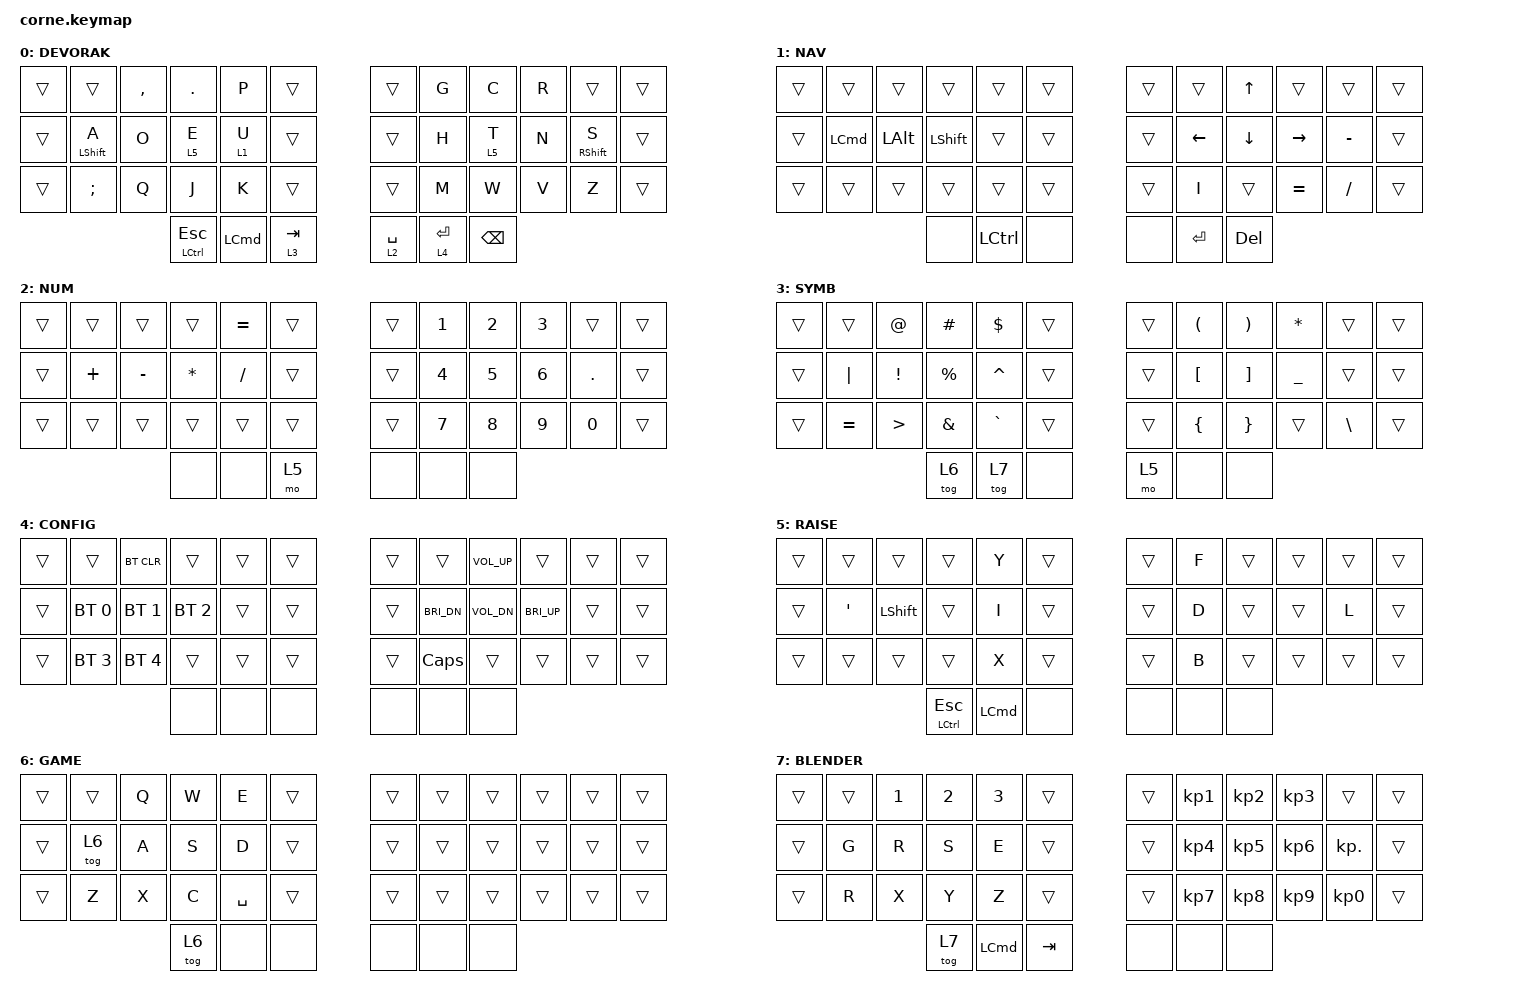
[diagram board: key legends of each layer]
/*
 * Copyright (c) 2020 The ZMK Contributors
 *
 * SPDX-License-Identifier: MIT
 */

#include <behaviors.dtsi>
#include <dt-bindings/zmk/keys.h>
#include <dt-bindings/zmk/bt.h>

/ {
    keymap {
        compatible = "zmk,keymap";

        devorak_layer {
            label = "DEVORAK";
            bindings = <
                &trans &trans &kp COMMA &kp DOT &kp P &trans &trans &kp G &kp C &kp R &trans &trans
                &trans &mt LSHFT A &kp O &lt 5 E &lt 1 U &trans &trans &kp H &lt 5 T &kp N &mt RSHFT S &trans
                &trans &kp SEMI &kp Q &kp J &kp K &trans          &trans &kp M &kp W &kp V &kp Z &trans
                &mt LCTRL ESC &kp LCMD &lt 3 TAB                  &lt 2 SPACE &lt 4 ENTER &kp BSPC
            >;
        };
        nav_layer {
            label = "NAV";
            bindings = <
                &trans &trans &trans &trans &trans &trans             &trans &trans &kp UP &trans &trans &trans
                &trans &kp LCMD &kp LALT &kp LSHFT &trans &trans       &trans &kp LEFT &kp DOWN &kp RIGHT &kp MINUS &trans
                &trans &trans &trans &trans &trans &trans             &trans &kp I &trans &kp EQUAL &kp SLASH &trans
                &none &kp LCTRL &none                                 &none &kp ENTER &kp DEL
            >;
        };
        num_layer {
            label = "NUM";
            bindings = <
                &trans &trans &trans &trans &kp EQUAL &trans           &trans &kp N1 &kp N2 &kp N3 &trans &trans
                &trans &kp PLUS &kp MINUS &kp ASTRK &kp SLASH &trans      &trans &kp N4 &kp N5 &kp N6 &kp DOT &trans
                &trans &trans &trans &trans &trans &trans             &trans &kp N7 &kp N8 &kp N9 &kp N0 &trans
                &none &none &mo 5                                      &none &none &none
            >;
        };
        symb_layer {
            label = "SYMB";
            bindings = <
                &trans &trans &kp AT &kp HASH &kp DLLR &trans         &trans &kp LPAR &kp RPAR &kp ASTRK &trans &trans
                &trans &kp PIPE &kp EXCL &kp PERCENT &kp CARET &trans   &trans &kp LBKT &kp RBKT &kp UNDER &trans &trans
                &trans &kp EQUAL &kp GT &kp AMPS &kp GRAVE &trans    &trans &kp LBRC &kp RBRC &trans &kp BSLH &trans
                &tog 6 &tog 7 &none                                      &mo 5 &none &none
            >;
        };
        config_layer {
            label = "CONFIG";
            bindings = <
                &trans &trans &bt BT_CLR &trans &trans &trans             &trans &trans &kp K_VOL_UP &trans &trans &trans
                &trans &bt BT_SEL 0 &bt BT_SEL 1 &bt BT_SEL 2 &trans      &trans &trans &kp C_BRI_DN &kp K_VOL_DN &kp C_BRI_UP &trans &trans
                &trans &bt BT_SEL 3 &bt BT_SEL 4 &trans &trans &trans     &trans &kp CAPSLOCK &trans &trans &trans &trans
                &none &none &none                                         &none &none &none
            >;
        };
        raise_layer {
            label = "RAISE";
            bindings = <
                &trans &trans &trans &trans &kp Y &trans               &trans &kp F &trans &trans &trans &trans
                &trans &kp SQT &kp LSHFT &trans &kp I &trans           &trans &kp D &trans &trans &kp L &trans
                &trans &trans &trans &trans &kp X &trans               &trans &kp B &trans &trans &trans &trans
                &mt LCTRL ESC &kp LCMD &none                           &none &none &none
            >;
        };
        game_layer {
            label = "GAME";
            bindings = <
                &trans &trans &kp Q &kp W &kp E &trans          &trans &trans &trans &trans &trans &trans
                &trans &tog 6 &kp A &kp S &kp D &trans          &trans &trans &trans &trans &trans &trans
                &trans &kp Z &kp X &kp C &kp SPACE &trans       &trans &trans &trans &trans &trans &trans
                                &tog 6 &none &none              &none &none &none
            >;
        };
        blender_layer {
            label = "BLENDER";
            bindings = <
                &trans &trans &kp N1 &kp N2 &kp N3 &trans      &trans &kp KP_N1 &kp KP_N2 &kp KP_N3 &trans &trans
                &trans &kp G &kp R &kp S &kp E &trans    &trans &kp KP_N4 &kp KP_N5 &kp KP_N6 &kp KP_DOT &trans
                &trans &kp R &kp X &kp Y &kp Z &trans          &trans &kp KP_N7 &kp KP_N8 &kp KP_N9 &kp KP_N0 &trans
                                &tog 7 &kp LCMD &kp TAB        &none &none &none
            >;
        };
    };
};
